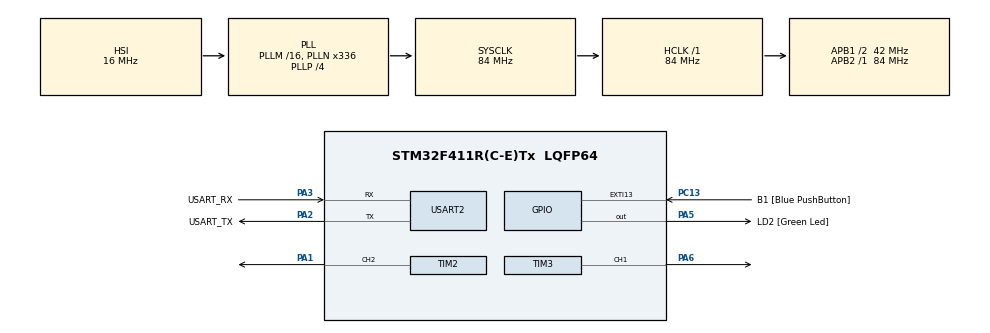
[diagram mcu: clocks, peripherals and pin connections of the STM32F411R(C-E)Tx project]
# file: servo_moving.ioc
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Mcu.Family=STM32F4
Mcu.Name=STM32F411R(C-E)Tx
Mcu.Package=LQFP64
NVIC.PriorityGroup=NVIC_PRIORITYGROUP_0
NVIC.TIM2_IRQn=true\:0\:0\:false\:false\:true\:true\:true\:true
NVIC.TIM3_IRQn=true\:0\:0\:false\:false\:true\:true\:true\:true
NVIC.USART2_IRQn=true\:0\:0\:false\:false\:true\:true\:true\:true
PA1.Signal=S_TIM2_CH2
PA13.GPIO_Label=TMS
PA13.Mode=Serial_Wire
PA13.Signal=SYS_JTMS-SWDIO
PA14.GPIO_Label=TCK
PA14.Mode=Serial_Wire
PA14.Signal=SYS_JTCK-SWCLK
PA2.GPIO_Label=USART_TX
PA2.Mode=Asynchronous
PA2.Signal=USART2_TX
PA3.GPIO_Label=USART_RX
PA3.Mode=Asynchronous
PA3.Signal=USART2_RX
PA5.GPIO_Label=LD2 [Green Led]
PA5.Signal=GPIO_Output
PA6.Signal=S_TIM3_CH1
PB3.GPIO_Label=SWO
PB3.Signal=SYS_JTDO-SWO
PC13-ANTI_TAMP.GPIO_Label=B1 [Blue PushButton]
PC13-ANTI_TAMP.GPIO_ModeDefaultEXTI=GPIO_MODE_IT_FALLING
PC13-ANTI_TAMP.Signal=GPXTI13
PC14-OSC32_IN.Mode=LSE-External-Oscillator
PC14-OSC32_IN.Signal=RCC_OSC32_IN
PC15-OSC32_OUT.Mode=LSE-External-Oscillator
PC15-OSC32_OUT.Signal=RCC_OSC32_OUT
PH0\ -\ OSC_IN.Mode=HSE-External-Clock-Source
PH0\ -\ OSC_IN.Signal=RCC_OSC_IN
PH1\ -\ OSC_OUT.Mode=HSE-External-Clock-Source
PH1\ -\ OSC_OUT.Signal=RCC_OSC_OUT
ProjectManager.HeapSize=0x200
ProjectManager.StackSize=0x400
ProjectManager.TargetToolchain=STM32CubeIDE
RCC.48MHZClocksFreq_Value=84000000
RCC.AHBFreq_Value=84000000
RCC.APB1CLKDivider=RCC_HCLK_DIV2
RCC.APB1Freq_Value=42000000
RCC.APB1TimFreq_Value=84000000
RCC.APB2Freq_Value=84000000
RCC.APB2TimFreq_Value=84000000
RCC.CortexFreq_Value=84000000
RCC.FLatency-AdvancedSettings=FLASH_LATENCY_2
RCC.HCLKFreq_Value=84000000
RCC.HSE_VALUE=8000000
RCC.HSI_VALUE=16000000
RCC.PLLN=336
RCC.PLLP=RCC_PLLP_DIV4
RCC.SYSCLKFreq_VALUE=84000000
RCC.SYSCLKSource=RCC_SYSCLKSOURCE_PLLCLK
RCC.VCOOutputFreq_Value=336000000
SH.S_TIM2_CH2.0=TIM2_CH2,PWM Generation2 CH2
SH.S_TIM3_CH1.0=TIM3_CH1,PWM Generation1 CH1
TIM2.Channel-PWM\ Generation2\ CH2=TIM_CHANNEL_2
TIM2.Period=20000-1
TIM2.Prescaler=84
TIM3.Channel-PWM\ Generation1\ CH1=TIM_CHANNEL_1
TIM3.Period=1000-1
TIM3.Prescaler=84
USART2.VirtualMode=VM_ASYNC
VP_TIM2_VS_ClockSourceINT.Mode=Internal
VP_TIM3_VS_ClockSourceINT.Mode=Internal
board=NUCLEO-F411RE

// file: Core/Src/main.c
/* USER CODE BEGIN Header */
/**
  ******************************************************************************
  * @file           : main.c
  * @brief          : Main program body
  ******************************************************************************
  * @attention
  *
  * Copyright (c) 2025 STMicroelectronics.
  * All rights reserved.
  *
  * This software is licensed under terms that can be found in the LICENSE file
  * in the root directory of this software component.
  * If no LICENSE file comes with this software, it is provided AS-IS.
  *
  ******************************************************************************
  */
/* USER CODE END Header */
#include "main.h"

/* USER CODE BEGIN Includes */
#include <stdio.h>
#include <stdlib.h>
/* USER CODE END Includes */

/* USER CODE BEGIN PD */
// 서보 펄스 폭(마이크로초)
#define SERVO_MIN_US   400
#define SERVO_MAX_US   2600
#define SERVO_MID_US   1500
/* USER CODE END PD */

TIM_HandleTypeDef htim2;
TIM_HandleTypeDef htim3;

UART_HandleTypeDef huart2;

/* USER CODE BEGIN PV */
volatile char area = 's';
volatile int targetAngle = 90;
volatile int currentAngle = 90;
volatile int moving = 0;
char rx_data;
/* USER CODE END PV */

void SystemClock_Config(void);
static void MX_GPIO_Init(void);
static void MX_USART2_UART_Init(void);
static void MX_TIM2_Init(void);
static void MX_TIM3_Init(void);
/* USER CODE BEGIN PFP */
static uint16_t Servo_AngleToUs(int angle);
static void Servo_MoveOneStep(int direction);
static void Servo_Move_Mid();
/* USER CODE END PFP */

/* USER CODE BEGIN 0 */
static uint16_t Servo_AngleToUs(int angle)
{
	if(angle < 0) angle = 0;
	if(angle > 180) angle = 180;
	return SERVO_MIN_US + ((SERVO_MAX_US - SERVO_MIN_US) * angle / 180);
}
static void Servo_MoveOneStep(int direction)
{
	// direction = +1 -> (오른쪽 시계방향 +1도), -1 -> (왼쪽 반시게방향 -1도)
	currentAngle += direction;

	if(currentAngle < 0)
		currentAngle = 0;
	if(currentAngle > 180)
		currentAngle = 180;

	__HAL_TIM_SET_COMPARE(&htim2, TIM_CHANNEL_2, Servo_AngleToUs(currentAngle));
}
static void Servo_Move_Mid()
{
	__HAL_TIM_SET_COMPARE(&htim2, TIM_CHANNEL_2, Servo_AngleToUs(90));
}
/* USER CODE END 0 */

int main(void)
{

  /* MCU Configuration--------------------------------------------------------*/

  /* Reset of all peripherals, Initializes the Flash interface and the Systick. */
  HAL_Init();

  /* Configure the system clock */
  SystemClock_Config();

  /* Initialize all configured peripherals */
  MX_GPIO_Init();
  MX_USART2_UART_Init();
  MX_TIM2_Init();
  MX_TIM3_Init();
  /* USER CODE BEGIN 2 */
  HAL_TIM_PWM_Start(&htim2, TIM_CHANNEL_2);
  HAL_TIM_Base_Start_IT(&htim3);
  printf("PWM started, moving servo to middle...\r\n");

  Servo_Move_Mid();
  HAL_UART_Receive_IT(&huart2, &rx_data, 1);
  /* USER CODE END 2 */

  /* Infinite loop */
  while (1)
  {

  }
}

void SystemClock_Config(void)
{
  RCC_OscInitTypeDef RCC_OscInitStruct = {0};
  RCC_ClkInitTypeDef RCC_ClkInitStruct = {0};

  /** Configure the main internal regulator output voltage
  */
  __HAL_RCC_PWR_CLK_ENABLE();
  __HAL_PWR_VOLTAGESCALING_CONFIG(PWR_REGULATOR_VOLTAGE_SCALE1);

  /** Initializes the RCC Oscillators according to the specified parameters
  * in the RCC_OscInitTypeDef structure.
  */
  RCC_OscInitStruct.OscillatorType = RCC_OSCILLATORTYPE_HSI;
  RCC_OscInitStruct.HSIState = RCC_HSI_ON;
  RCC_OscInitStruct.HSICalibrationValue = RCC_HSICALIBRATION_DEFAULT;
  RCC_OscInitStruct.PLL.PLLState = RCC_PLL_ON;
  RCC_OscInitStruct.PLL.PLLSource = RCC_PLLSOURCE_HSI;
  RCC_OscInitStruct.PLL.PLLM = 16;
  RCC_OscInitStruct.PLL.PLLN = 336;
  RCC_OscInitStruct.PLL.PLLP = RCC_PLLP_DIV4;
  RCC_OscInitStruct.PLL.PLLQ = 4;
  if (HAL_RCC_OscConfig(&RCC_OscInitStruct) != HAL_OK)
  {
    Error_Handler();
  }

  /** Initializes the CPU, AHB and APB buses clocks
  */
  RCC_ClkInitStruct.ClockType = RCC_CLOCKTYPE_HCLK|RCC_CLOCKTYPE_SYSCLK
                              |RCC_CLOCKTYPE_PCLK1|RCC_CLOCKTYPE_PCLK2;
  RCC_ClkInitStruct.SYSCLKSource = RCC_SYSCLKSOURCE_PLLCLK;
  RCC_ClkInitStruct.AHBCLKDivider = RCC_SYSCLK_DIV1;
  RCC_ClkInitStruct.APB1CLKDivider = RCC_HCLK_DIV2;
  RCC_ClkInitStruct.APB2CLKDivider = RCC_HCLK_DIV1;

  if (HAL_RCC_ClockConfig(&RCC_ClkInitStruct, FLASH_LATENCY_2) != HAL_OK)
  {
    Error_Handler();
  }
}

static void MX_TIM2_Init(void)
{

  TIM_ClockConfigTypeDef sClockSourceConfig = {0};
  TIM_MasterConfigTypeDef sMasterConfig = {0};
  TIM_OC_InitTypeDef sConfigOC = {0};

  htim2.Instance = TIM2;
  htim2.Init.Prescaler = 84;
  htim2.Init.CounterMode = TIM_COUNTERMODE_UP;
  htim2.Init.Period = 20000-1;
  htim2.Init.ClockDivision = TIM_CLOCKDIVISION_DIV1;
  htim2.Init.AutoReloadPreload = TIM_AUTORELOAD_PRELOAD_DISABLE;
  if (HAL_TIM_Base_Init(&htim2) != HAL_OK)
  {
    Error_Handler();
  }
  sClockSourceConfig.ClockSource = TIM_CLOCKSOURCE_INTERNAL;
  if (HAL_TIM_ConfigClockSource(&htim2, &sClockSourceConfig) != HAL_OK)
  {
    Error_Handler();
  }
  if (HAL_TIM_PWM_Init(&htim2) != HAL_OK)
  {
    Error_Handler();
  }
  sMasterConfig.MasterOutputTrigger = TIM_TRGO_RESET;
  sMasterConfig.MasterSlaveMode = TIM_MASTERSLAVEMODE_DISABLE;
  if (HAL_TIMEx_MasterConfigSynchronization(&htim2, &sMasterConfig) != HAL_OK)
  {
    Error_Handler();
  }
  sConfigOC.OCMode = TIM_OCMODE_PWM1;
  sConfigOC.Pulse = 0;
  sConfigOC.OCPolarity = TIM_OCPOLARITY_HIGH;
  sConfigOC.OCFastMode = TIM_OCFAST_DISABLE;
  if (HAL_TIM_PWM_ConfigChannel(&htim2, &sConfigOC, TIM_CHANNEL_2) != HAL_OK)
  {
    Error_Handler();
  }
  HAL_TIM_MspPostInit(&htim2);

}

static void MX_TIM3_Init(void)
{

  TIM_ClockConfigTypeDef sClockSourceConfig = {0};
  TIM_MasterConfigTypeDef sMasterConfig = {0};
  TIM_OC_InitTypeDef sConfigOC = {0};

  htim3.Instance = TIM3;
  htim3.Init.Prescaler = 84;
  htim3.Init.CounterMode = TIM_COUNTERMODE_UP;
  htim3.Init.Period = 1000-1;
  htim3.Init.ClockDivision = TIM_CLOCKDIVISION_DIV1;
  htim3.Init.AutoReloadPreload = TIM_AUTORELOAD_PRELOAD_DISABLE;
  if (HAL_TIM_Base_Init(&htim3) != HAL_OK)
  {
    Error_Handler();
  }
  sClockSourceConfig.ClockSource = TIM_CLOCKSOURCE_INTERNAL;
  if (HAL_TIM_ConfigClockSource(&htim3, &sClockSourceConfig) != HAL_OK)
  {
    Error_Handler();
  }
  if (HAL_TIM_PWM_Init(&htim3) != HAL_OK)
  {
    Error_Handler();
  }
  sMasterConfig.MasterOutputTrigger = TIM_TRGO_RESET;
  sMasterConfig.MasterSlaveMode = TIM_MASTERSLAVEMODE_DISABLE;
  if (HAL_TIMEx_MasterConfigSynchronization(&htim3, &sMasterConfig) != HAL_OK)
  {
    Error_Handler();
  }
  sConfigOC.OCMode = TIM_OCMODE_PWM1;
  sConfigOC.Pulse = 0;
  sConfigOC.OCPolarity = TIM_OCPOLARITY_HIGH;
  sConfigOC.OCFastMode = TIM_OCFAST_DISABLE;
  if (HAL_TIM_PWM_ConfigChannel(&htim3, &sConfigOC, TIM_CHANNEL_1) != HAL_OK)
  {
    Error_Handler();
  }
  HAL_TIM_MspPostInit(&htim3);

}

static void MX_USART2_UART_Init(void)
{

  huart2.Instance = USART2;
  huart2.Init.BaudRate = 115200;
  huart2.Init.WordLength = UART_WORDLENGTH_8B;
  huart2.Init.StopBits = UART_STOPBITS_1;
  huart2.Init.Parity = UART_PARITY_NONE;
  huart2.Init.Mode = UART_MODE_TX_RX;
  huart2.Init.HwFlowCtl = UART_HWCONTROL_NONE;
  huart2.Init.OverSampling = UART_OVERSAMPLING_16;
  if (HAL_UART_Init(&huart2) != HAL_OK)
  {
    Error_Handler();
  }

}

static void MX_GPIO_Init(void)
{
  GPIO_InitTypeDef GPIO_InitStruct = {0};

  /* GPIO Ports Clock Enable */
  __HAL_RCC_GPIOC_CLK_ENABLE();
  __HAL_RCC_GPIOH_CLK_ENABLE();
  __HAL_RCC_GPIOA_CLK_ENABLE();
  __HAL_RCC_GPIOB_CLK_ENABLE();

  /*Configure GPIO pin Output Level */
  HAL_GPIO_WritePin(LD2_GPIO_Port, LD2_Pin, GPIO_PIN_RESET);

  /*Configure GPIO pin : B1_Pin */
  GPIO_InitStruct.Pin = B1_Pin;
  GPIO_InitStruct.Mode = GPIO_MODE_IT_FALLING;
  GPIO_InitStruct.Pull = GPIO_NOPULL;
  HAL_GPIO_Init(B1_GPIO_Port, &GPIO_InitStruct);

  /*Configure GPIO pin : LD2_Pin */
  GPIO_InitStruct.Pin = LD2_Pin;
  GPIO_InitStruct.Mode = GPIO_MODE_OUTPUT_PP;
  GPIO_InitStruct.Pull = GPIO_NOPULL;
  GPIO_InitStruct.Speed = GPIO_SPEED_FREQ_LOW;
  HAL_GPIO_Init(LD2_GPIO_Port, &GPIO_InitStruct);

}

/* USER CODE BEGIN 4 */
void HAL_TIM_PeriodElapsedCallback(TIM_HandleTypeDef *htim)
{
	if (htim->Instance == TIM3) // 1ms마다 실행
	{
		static int cnt = 0;
		cnt++;
		if(currentAngle != targetAngle)
		{
			moving = 1;
		}

		if(moving && cnt == 10)
		{
			int direction = (targetAngle > currentAngle) ? 1 : -1;
			Servo_MoveOneStep(direction);

			if(currentAngle == targetAngle)
				moving = 0;
		}

		if(cnt >= 10)
			cnt = 0;
	}
}
void HAL_UART_RxCpltCallback(UART_HandleTypeDef *huart)
{
	if(huart->Instance == USART2)
	{
		switch(rx_data)
		{
			case 'a':
				targetAngle = 180;
				break;
			case 's':
				targetAngle = currentAngle;
				break;
			case 'd':
				targetAngle = 0;
				break;
			case 'w':
				targetAngle = 90;
				break;
		}
		HAL_UART_Receive_IT(&huart2, &rx_data, 1); // 다음 바이트 받기
	}
}
/* USER CODE END 4 */

void Error_Handler(void)
{
  __disable_irq();
  while (1)
  {
  }
}
